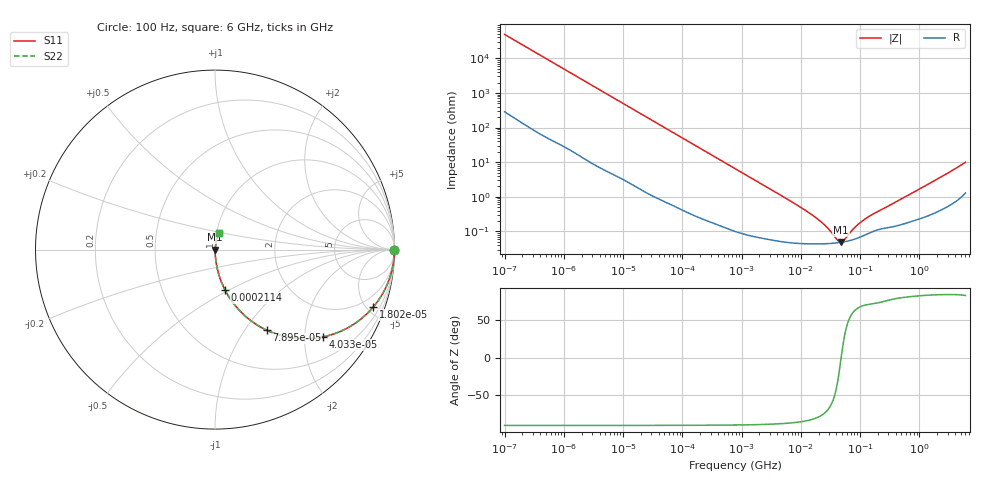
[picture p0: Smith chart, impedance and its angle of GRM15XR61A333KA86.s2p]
!Murata Part Number: GRM15XR61A333KA86
!These Parameters are Measured in Series Mode Connection
!Data Generated on Mar 30, 2021
!  o--ll--o
!Port1  Port2
!  o------o
!Operation Temp=25[degC], DC Bias Voltage=0[V]
!Freq. Start=100[Hz] Stop=6[GHz] 401[Steps]
# Hz S RI R 50
!Freq.(Hz) S11(Real) S11(Imag) S21(Real) S21(Imag) S12(Real) S12(Imag) S22(Real) S22(Imag)
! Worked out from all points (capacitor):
!   401 points, 100 Hz to 6 GHz, reference 50 ohm
!   read as one part in series: C = 32.5 nF near 109 Hz
!   lowest |Z| = 48.4 mohm at 47.65 MHz (marker M1)
!   series resonance near 47.94 MHz, so ESL is about 340 pH
!   S11 on the Smith chart (normalised r, x): 100 Hz: open; 18.02 kHz: 1.04, -5.52; 40.34 kHz: 1.02, -2.47; 78.95 kHz: 1.01, -1.27; 211.4 kHz: 1.00, -0.48; 6 GHz: 1.03, +0.20
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100  1 -0.00205  1.62e-05 0.00205  1.62e-05 0.00205  1 -0.00205
2008  0.9981 -0.0406  0.00188 0.0406  0.00188 0.0406  0.9981 -0.0406
6728  0.9811 -0.1331  0.0189 0.1331  0.0189 0.1331  0.9811 -0.1331
18016  0.8825 -0.3188  0.1175 0.3188  0.1175 0.3188  0.8825 -0.3188
26957  0.7721 -0.4162  0.2279 0.4162  0.2279 0.4162  0.7721 -0.4162
40335  0.6041 -0.4856  0.3959 0.4856  0.3959 0.4856  0.6041 -0.4856
55182  0.4509 -0.4939  0.5491 0.4939  0.5491 0.4939  0.4509 -0.4939
78952  0.2882 -0.449  0.7118 0.449  0.7118 0.449  0.2882 -0.449
123542  0.1436 -0.3464  0.8564 0.3464  0.8564 0.3464  0.1436 -0.3464
211427  0.0555 -0.2241  0.9445 0.2241  0.9445 0.2241  0.0555 -0.2241
774597  0.00524 -0.065  0.9948 0.065  0.9948 0.065  0.00524 -0.065
6353432  0.000537 -0.00793  0.9995 0.00793  0.9995 0.00793  0.000537 -0.00793
1.555665e7  0.000445 -0.00296  0.9996 0.00296  0.9996 0.00296  0.000445 -0.00296
2.434276e7  0.000442 -0.00156  0.9996 0.00156  0.9996 0.00156  0.000442 -0.00156
4.165952e7  0.000469 -0.0003  0.9995 0.0003  0.9995 0.0003  0.000469 -0.0003
4.764863e7  0.000483 -1.29e-05  0.9995 1.29e-05  0.9995 1.29e-05  0.000483 -1.29e-05
5.449875e7  0.000503 0.000273  0.9995 -0.000273  0.9995 -0.000273  0.000503 0.000273
7.797396e7  0.000587 0.00106  0.9994 -0.00106  0.9994 -0.00106  0.000587 0.00106
1.115611e8  0.000744 0.00192  0.9993 -0.00192  0.9993 -0.00192  0.000744 0.00192
3.124326e8  0.00133 0.00545  0.9987 -0.00545  0.9987 -0.00545  0.00133 0.00545
1.95892e9  0.00456 0.0313  0.9954 -0.0313  0.9954 -0.0313  0.00456 0.0313
6e9  0.022 0.0952  0.978 -0.0952  0.978 -0.0952  0.022 0.0952
